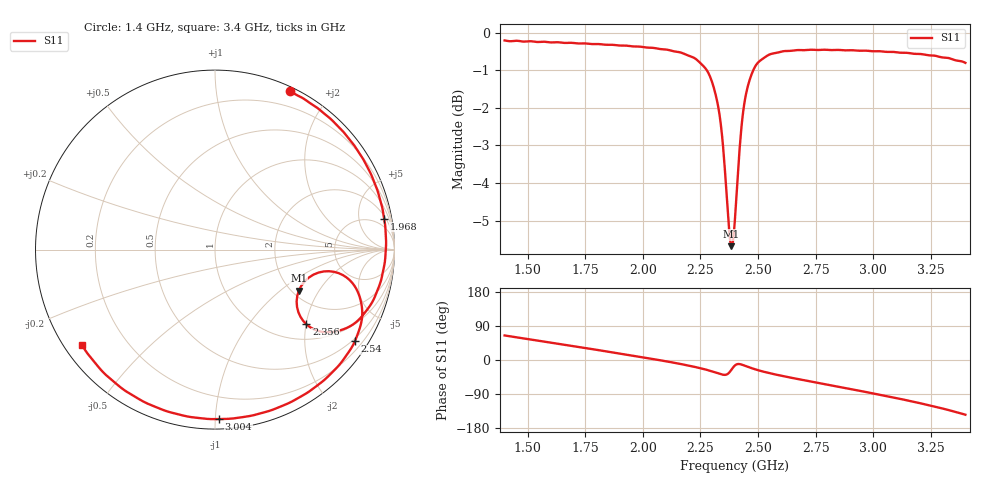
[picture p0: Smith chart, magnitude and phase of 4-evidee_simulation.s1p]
#  Hz  S  RI  R  50
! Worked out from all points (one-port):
!   501 points, 1.4 GHz to 3.4 GHz, reference 50 ohm
!   lowest |S11| = -5.7 dB at 2.384 GHz (marker M1), VSWR 3.17, Z = 108 - j68.1 ohm
!   |S11| at or under -10 dB: nowhere
!   S11 on the Smith chart (normalised r, x): 1.4 GHz: 0.04, +1.58; 1.968 GHz: 2, +10; 2.356 GHz: 1.37, -2.01; 2.54 GHz: 0.43, -3.30; 3.004 GHz: 0.06, -1.02; 3.4 GHz: 0.05, -0.32
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1.4e9  0.4162 0.883
1.508e9  0.5646 0.7936
1.652e9  0.733 0.6342
1.764e9  0.8353 0.4861
1.9e9  0.9188 0.2822
1.968e9  0.9427 0.1723
2.056e9  0.953 0.0219
2.152e9  0.9306 -0.1491
2.22e9  0.8836 -0.2785
2.276e9  0.8041 -0.3876
2.328e9  0.6476 -0.4597
2.344e9  0.5712 -0.4521
2.356e9  0.5094 -0.4163
2.372e9  0.457 -0.3195
2.384e9  0.4669 -0.2293
2.4e9  0.5489 -0.1393
2.42e9  0.6885 -0.131
2.436e9  0.7651 -0.1857
2.452e9  0.8016 -0.2506
2.488e9  0.8196 -0.3768
2.54e9  0.7794 -0.5105
2.652e9  0.6358 -0.7011
2.784e9  0.4287 -0.8465
2.9e9  0.222 -0.921
3.004e9  0.0215 -0.9442
3.152e9  -0.2778 -0.8976
3.272e9  -0.5174 -0.7741
3.4e9  -0.7411 -0.5306
